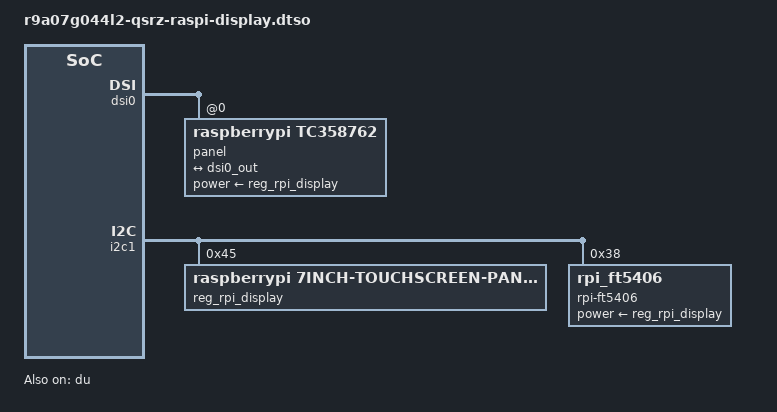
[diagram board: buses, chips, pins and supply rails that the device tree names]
// SPDX-License-Identifier: (GPL-2.0 OR BSD-3-Clause)
/*
 * Copyright (C) 2023 Markus Bauer <MB@karo-electronics.com>
 */
/dts-v1/;
/plugin/;

#include <dt-bindings/gpio/gpio.h>
#include <dt-bindings/pinctrl/rzg2l-pinctrl.h>

&{/chosen} {
	overlays {
		qsrz-raspi-display;
	};
};

&dsi0 {
	#address-cells = <1>;
	#size-cells = <0>;
	status = "okay";

	panel@0 {
		reg = <0>;
		compatible = "raspberrypi,tc358762";
		dsi-lanes = <1>;
		video-mode = <2>;
		panel-width-mm = <154>;
		panel-height-mm = <86>;
		power-supply = <&reg_rpi_display>;
		status = "okay";

		port {
			panel_in: endpoint {
				remote-endpoint = <&dsi0_out>;
			};
		};
	};
};

&dsi0_out {
	remote-endpoint = <&panel_in>;
	data-lanes = <1>;
};

&du {
	status = "okay";
};

&i2c1 {
	status = "okay";

	reg_rpi_display: regulator-rpi-display@45 {
		compatible = "raspberrypi,7inch-touchscreen-panel-regulator";
		reg = <0x45>;
		regulator-min-microvolt = <3300000>;
		regulator-max-microvolt = <3300000>;
	};

	rpi-ft5406@38 {
		compatible = "rpi_ft5406";
		reg = <0x38>;
		power-supply = <&reg_rpi_display>;
	};
};
